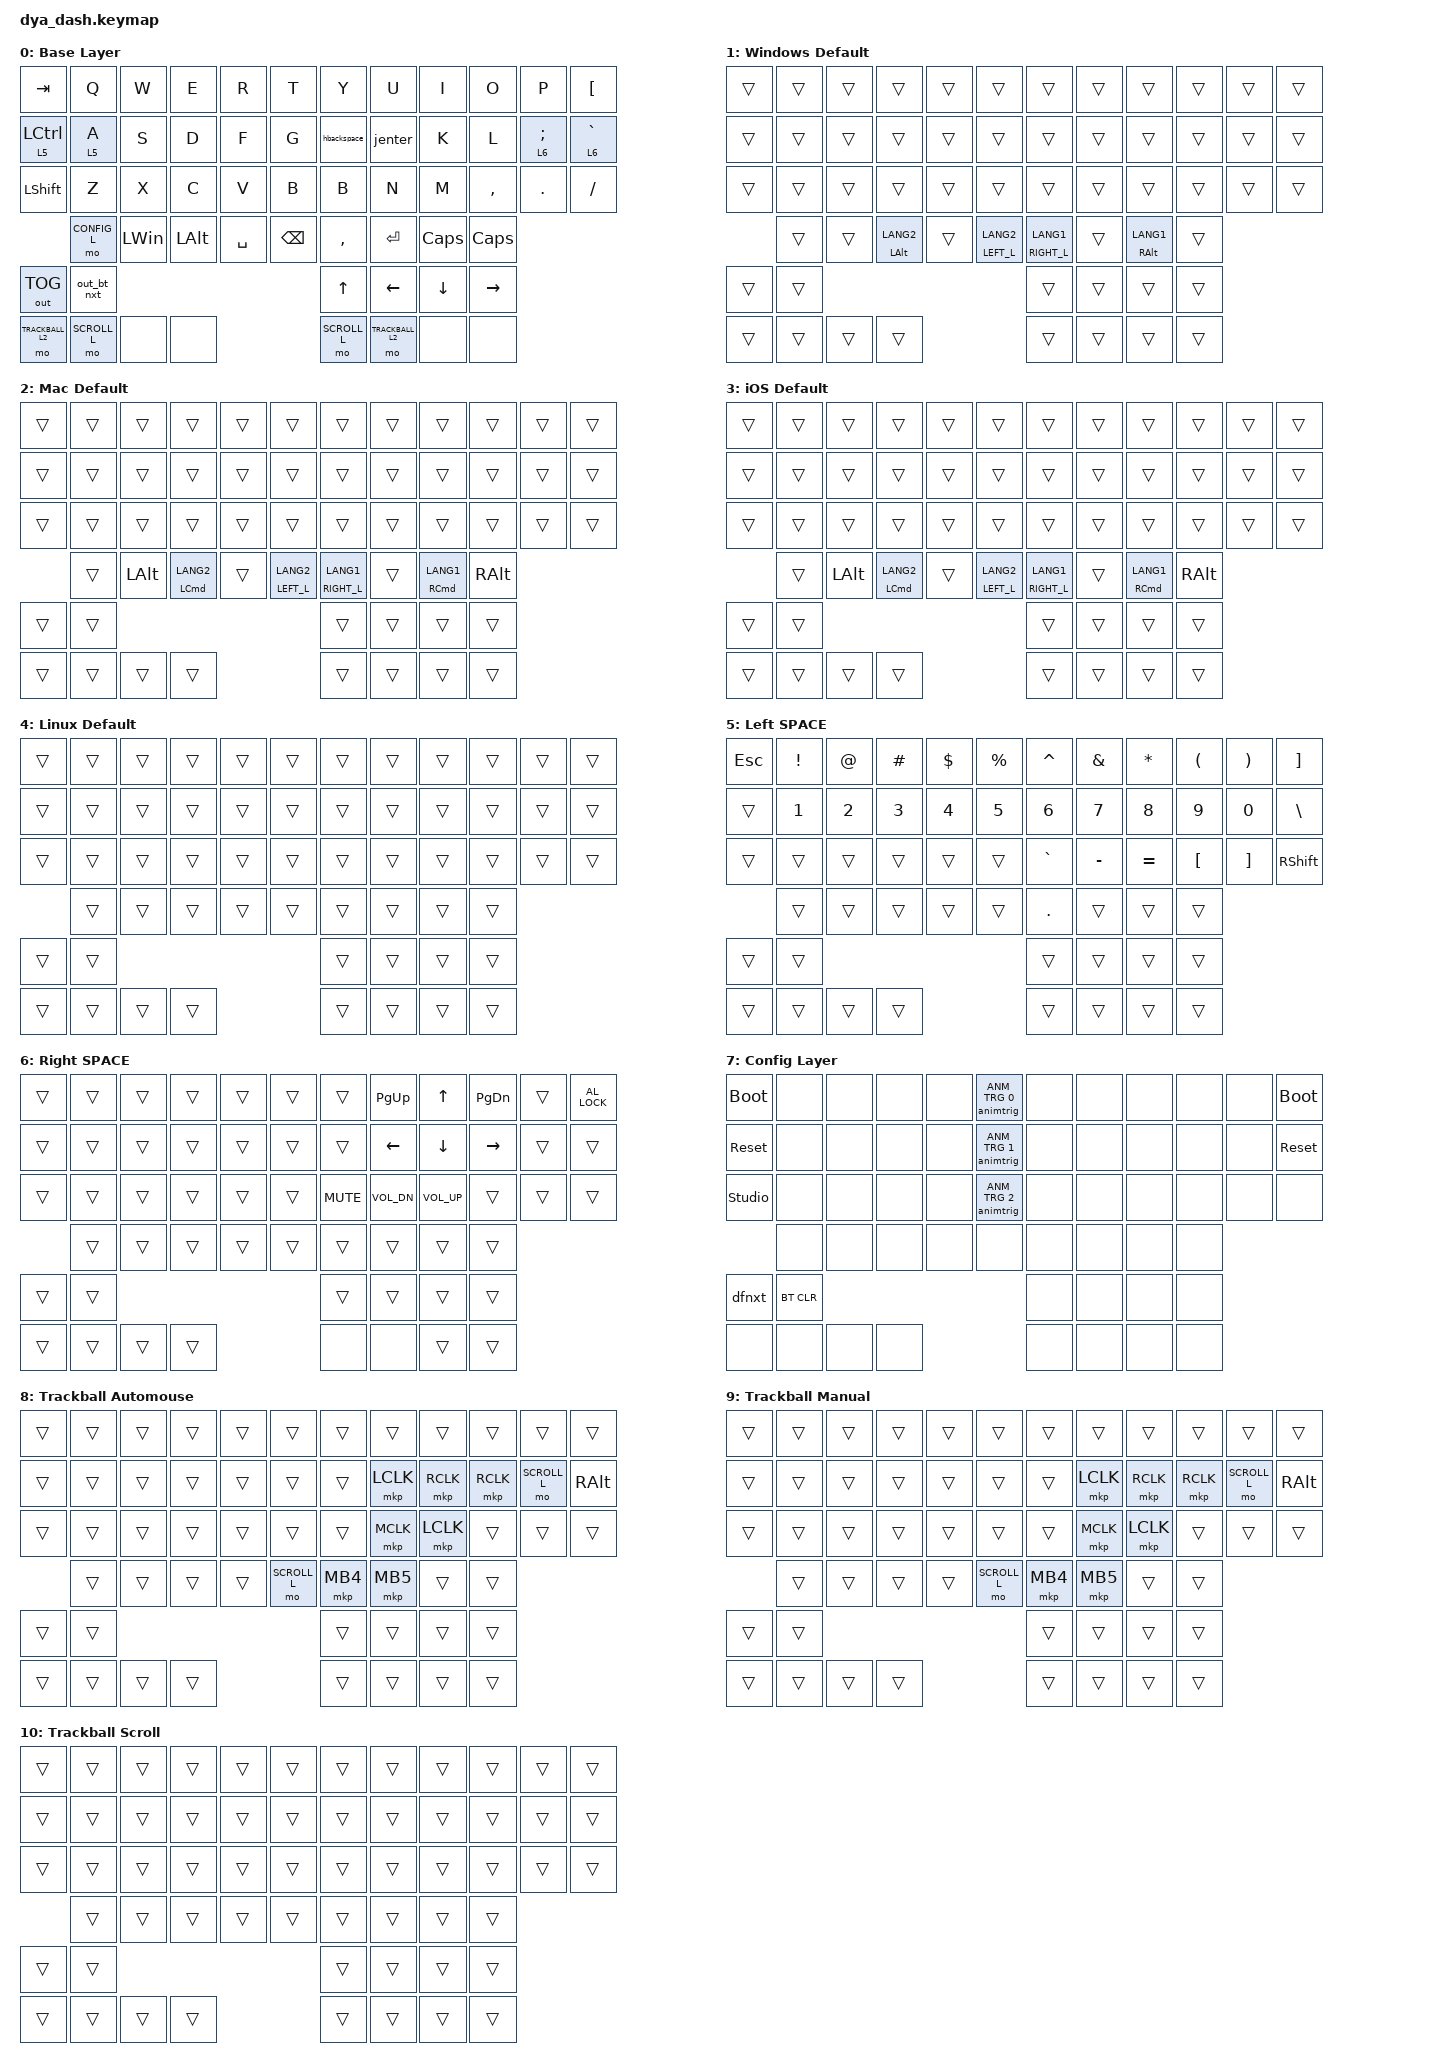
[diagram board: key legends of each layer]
#include <behaviors/mouse_move.dtsi>
#include <behaviors/animation_control.dtsi>
#include <behaviors/animation_trigger.dtsi>
#include <dt-bindings/zmk/mouse.h>
#include <dt-bindings/zmk_driver_animation/animation_control.h>
#include <dt-bindings/zmk_driver_animation/animation_trigger.h>
#include <dt-bindings/zmk_behavior_default_layer/default_layer.h>
#include <behaviors.dtsi>
#include <dt-bindings/zmk/bt.h>
#include <dt-bindings/zmk/keys.h>
#include <dt-bindings/zmk/outputs.h>
#include <dt-bindings/zmk/pointing.h>

// Layer definitions

#define DEFAULT_L 0
#define WINDOWS_L 1
#define MAC_L 2
#define IOS_L 3
#define LINUX_L 4
#define LEFT_L 5
#define RIGHT_L 6
#define CONFIG_L 7
#define TRACKBALL_L 8
#define TRACKBALL_L2 9
#define SCROLL_L 10
#define EXT1_L 11
#define EXT2_L 12
#define EXT3_L 13

&trackball_listener {
    input-processors = <
    // TRACKBALL_L layer is activated when trackball is used.
    // After 500ms of trackball inactivity, the layer is deactivated.
    &zip_temp_layer TRACKBALL_L 500
    // Example: Adjust sensitivity of trackball multiply by 1 and divide by 60.
    // &zip_xy_scaler 1 60
    >;
};

&trackball_scroller {
    layers = <SCROLL_L>;

    // Example: adjust sensitivity of scroll multiply by 1 and divide by 60.
    // input-processors = <&zip_xy_scaler 1 60 &zip_xy_to_scroll_mapper>;
};

&trackball_listener_l { input-processors = <&zip_temp_layer TRACKBALL_L 500>; };

&trackball_scroller_l { layers = <SCROLL_L>; };

&zip_temp_layer { excluded-positions = <19 20 21 22 32 33 41 52 53 54 55 56 57 58 59>; };

&trackball_r { cpi = <600>; };

&trackball_l { cpi = <600>; };

/ {
    behaviors {
        // ctrl+h as backspace

        hbackspace: h_or_ctrl_backspace {
            compatible = "zmk,behavior-mod-morph";
            #binding-cells = <0>;
            bindings = <&kp H>, <&kp BACKSPACE>;

            mods = <(MOD_LCTL)>;
        };

        // ctrl+j as enter

        jenter: j_or_ctrl_enter {
            compatible = "zmk,behavior-mod-morph";
            #binding-cells = <0>;
            bindings = <&kp J>, <&kp ENTER>;

            mods = <(MOD_LCTL)>;
        };
    };

    macros {
        // Disconnect from all once for reliable connection to selected profile.
        // ZMK automatically reconnects to current profile right after disconnection.

        out_bt_nxt: out_bt_nxt {
            compatible = "zmk,behavior-macro";
            #binding-cells = <0>;
            wait-ms = <50>;
            bindings = <&out OUT_BLE &bt BT_NXT &bt BT_DISC 0 &bt BT_DISC 1 &bt BT_DISC 2 &bt BT_DISC 3 &bt BT_DISC 4>;
        };

        // Change default layer for current profile to next layer

        dfnxt: dfnxt {
            compatible = "zmk,behavior-macro";
            #binding-cells = <0>;
            bindings = <&df DF_INC &animtrig ANM_TRG 2>;
        };
    };

    combos {
        compatible = "zmk,combos";

        // Right side's setting button shares input pin with arrow keys.
        // It works as a combo of two arrow keys.

        setting_r1 {
            timeout-ms = <10>;
            key-positions = <47 50>;
            bindings = <&kp C_VOL_DN>;
        };

        setting_r2 {
            timeout-ms = <10>;
            key-positions = <47 49>;
            bindings = <&kp C_VOL_UP>;
        };
    };

    keymap {
        compatible = "zmk,keymap";

        // template {
        //     bindings = <
        //         &trans      &trans      &trans      &trans      &trans      &trans      /**/ &trans      &trans      &trans      &trans      &trans      &trans
        //         &trans      &trans      &trans      &trans      &trans      &trans      /**/ &trans      &trans      &trans      &trans      &trans      &trans
        //         &trans      &trans      &trans      &trans      &trans      &trans      /**/ &trans      &trans      &trans      &trans      &trans      &trans
        //                     &trans      &trans      &trans      &trans      &trans      /**/ &trans      &trans      &trans      &trans
        //
        //         &trans      &trans                                                      /**/ &trans      &trans      &trans      &trans
        //         &trans      &trans      &trans      &trans                              /**/ &trans      &trans      &trans      &trans
        //     >;
        // };

        default_layer {
            display-name = "Base Layer";

            // --------------------------------------------------------------------------------------------------------------------------------------------------
            // |   TAB   |    Q    |    W    |    E    |    R    |    T       |            |    Y        |    U    |    I     |    O    |    P    |    [    |
            // |   CTRL  |    A    |    S    |    D    |    F    |    G       |            |    H        |    J    |    K     |    L    |    ;    |    '    |
            // |  SHIFT  |    Z    |    X    |    C    |    V    |    B       |            |    B        |    N    |    M     |    ,    |    .    |    /    |
            //           |  CONFIG |   WIN   |   ALT   |  SPACE  | LEFT_LAYER |            | RIGHT_LAYER |  SPACE  |   ALT    |   WIN   |
            // --------------------------------------------------------------------------------------------------------------------------------------------------
            // | BLE     |  USB    |                                                       |  left   | up      | down    | right   |
            // | touch1  | touch2  | touch3  | touch 4 |                                   | touch1  | touch2  | touch3  | touch 4 |

            bindings = <
&kp TAB             &kp Q         &kp W     &kp E     &kp R      &kp T          &kp Y         &kp U             &kp I         &kp O         &kp P            &kp LBKT
&lt 5 LEFT_CONTROL  &lt 5 A       &kp S     &kp D     &kp F      &kp G          &hbackspace   &jenter           &kp K         &kp L         &lt 6 SEMICOLON  &lt 6 GRAVE
&kp LSHIFT          &kp Z         &kp X     &kp C     &kp V      &kp B          &kp B         &kp N             &kp M         &kp COMMA     &kp DOT          &kp FSLH
                    &mo CONFIG_L  &kp LWIN  &kp LALT  &kp SPACE  &kp BACKSPACE  &kp COMMA     &kp ENTER         &kp CAPSLOCK  &kp CAPSLOCK
&out OUT_TOG        &out_bt_nxt                                                 &kp UP        &kp LEFT          &kp DOWN      &kp RIGHT
&mo TRACKBALL_L2    &mo SCROLL_L  &none     &none                               &mo SCROLL_L  &mo TRACKBALL_L2  &none         &none
            >;
        };

        windows_default_layer {
            display-name = "Windows Default";
            bindings = <
&trans  &trans  &trans  &trans          &trans  &trans            &trans             &trans  &trans          &trans  &trans  &trans
&trans  &trans  &trans  &trans          &trans  &trans            &trans             &trans  &trans          &trans  &trans  &trans
&trans  &trans  &trans  &trans          &trans  &trans            &trans             &trans  &trans          &trans  &trans  &trans
        &trans  &trans  &mt LALT LANG2  &trans  &lt LEFT_L LANG2  &lt RIGHT_L LANG1  &trans  &mt RALT LANG1  &trans
&trans  &trans                                                    &trans             &trans  &trans          &trans
&trans  &trans  &trans  &trans                                    &trans             &trans  &trans          &trans
            >;
        };

        mac_default_layer {
            display-name = "Mac Default";
            bindings = <
&trans  &trans  &trans    &trans          &trans  &trans            &trans             &trans  &trans          &trans    &trans  &trans
&trans  &trans  &trans    &trans          &trans  &trans            &trans             &trans  &trans          &trans    &trans  &trans
&trans  &trans  &trans    &trans          &trans  &trans            &trans             &trans  &trans          &trans    &trans  &trans
        &trans  &kp LALT  &mt LCMD LANG2  &trans  &lt LEFT_L LANG2  &lt RIGHT_L LANG1  &trans  &mt RCMD LANG1  &kp RALT
&trans  &trans                                                      &trans             &trans  &trans          &trans
&trans  &trans  &trans    &trans                                    &trans             &trans  &trans          &trans
            >;
        };

        ios_default_layer {
            display-name = "iOS Default";
            bindings = <
&trans  &trans  &trans    &trans          &trans  &trans            &trans             &trans  &trans          &trans    &trans  &trans
&trans  &trans  &trans    &trans          &trans  &trans            &trans             &trans  &trans          &trans    &trans  &trans
&trans  &trans  &trans    &trans          &trans  &trans            &trans             &trans  &trans          &trans    &trans  &trans
        &trans  &kp LALT  &mt LCMD LANG2  &trans  &lt LEFT_L LANG2  &lt RIGHT_L LANG1  &trans  &mt RCMD LANG1  &kp RALT
&trans  &trans                                                      &trans             &trans  &trans          &trans
&trans  &trans  &trans    &trans                                    &trans             &trans  &trans          &trans
            >;
        };

        linux_default_layer {
            display-name = "Linux Default";
            bindings = <
&trans  &trans  &trans  &trans  &trans  &trans  &trans  &trans  &trans  &trans  &trans  &trans
&trans  &trans  &trans  &trans  &trans  &trans  &trans  &trans  &trans  &trans  &trans  &trans
&trans  &trans  &trans  &trans  &trans  &trans  &trans  &trans  &trans  &trans  &trans  &trans
        &trans  &trans  &trans  &trans  &trans  &trans  &trans  &trans  &trans
&trans  &trans                                  &trans  &trans  &trans  &trans
&trans  &trans  &trans  &trans                  &trans  &trans  &trans  &trans
            >;
        };

        left_layer {
            display-name = "Left SPACE";

            // --------------------------------------------------------------------------------------------------------------------------------------------------------------------
            // |  ESC    |  !  |  @  |  #       |  $  |  %       |                           |  ^  |  &      |  *      |  (  |  )  |  ]  |
            // |         |  1  |  2  |  3       |  4  |  5       |                           |  6  |  7      |  8      |  9  |  0  |  \  |
            // |         |     |     |          |     |          |                           |  `  |  -      |  =      |  [  |  ]  |SHIFT|
            //           |     |     |          |     |          |                           |     |         |         |     |

            bindings = <
&kp ESC  &kp EXCL  &kp AT  &kp HASH  &kp DLLR  &kp PRCNT  &kp CARET   &kp AMPS   &kp ASTRK  &kp LPAR  &kp RPAR  &kp RBKT
&trans   &kp N1    &kp N2  &kp N3    &kp N4    &kp N5     &kp N6      &kp N7     &kp N8     &kp N9    &kp N0    &kp BACKSLASH
&trans   &trans    &trans  &trans    &trans    &trans     &kp GRAVE   &kp MINUS  &kp EQUAL  &kp LBKT  &kp RBKT  &kp RSHIFT
         &trans    &trans  &trans    &trans    &trans     &kp PERIOD  &trans     &trans     &trans
&trans   &trans                                           &trans      &trans     &trans     &trans
&trans   &trans    &trans  &trans                         &trans      &trans     &trans     &trans
            >;
        };

        right_layer {
            display-name = "Right SPACE";
            bindings = <
&trans  &trans  &trans  &trans  &trans  &trans  &trans      &kp PG_UP     &kp UP        &kp PG_DN  &trans  &kp C_AL_LOCK
&trans  &trans  &trans  &trans  &trans  &trans  &trans      &kp LEFT      &kp DOWN      &kp RIGHT  &trans  &trans
&trans  &trans  &trans  &trans  &trans  &trans  &kp C_MUTE  &kp C_VOL_DN  &kp C_VOL_UP  &trans     &trans  &trans
        &trans  &trans  &trans  &trans  &trans  &trans      &trans        &trans        &trans
&trans  &trans                                  &trans      &trans        &trans        &trans
&trans  &trans  &trans  &trans                  &none       &none         &trans        &trans
            >;
        };

        config_layer {
            display-name = "Config Layer";
            bindings = <
&bootloader     &none       &none  &none  &none  &animtrig ANM_TRG 0  &none  &none  &none  &none  &none  &bootloader
&sys_reset      &none       &none  &none  &none  &animtrig ANM_TRG 1  &none  &none  &none  &none  &none  &sys_reset
&studio_unlock  &none       &none  &none  &none  &animtrig ANM_TRG 2  &none  &none  &none  &none  &none  &none
                &none       &none  &none  &none  &none                &none  &none  &none  &none
&dfnxt          &bt BT_CLR                                            &none  &none  &none  &none
&none           &none       &none  &none                              &none  &none  &none  &none
            >;
        };

        trackball_layer {
            display-name = "Trackball Automouse";
            bindings = <
&trans  &trans  &trans  &trans  &trans  &trans        &trans    &trans     &trans     &trans     &trans        &trans
&trans  &trans  &trans  &trans  &trans  &trans        &trans    &mkp LCLK  &mkp RCLK  &mkp RCLK  &mo SCROLL_L  &kp RALT
&trans  &trans  &trans  &trans  &trans  &trans        &trans    &mkp MCLK  &mkp LCLK  &trans     &trans        &trans
        &trans  &trans  &trans  &trans  &mo SCROLL_L  &mkp MB4  &mkp MB5   &trans     &trans
&trans  &trans                                        &trans    &trans     &trans     &trans
&trans  &trans  &trans  &trans                        &trans    &trans     &trans     &trans
            >;
        };

        trackball_layer2 {
            display-name = "Trackball Manual";
            bindings = <
&trans  &trans  &trans  &trans  &trans  &trans        &trans    &trans     &trans     &trans     &trans        &trans
&trans  &trans  &trans  &trans  &trans  &trans        &trans    &mkp LCLK  &mkp RCLK  &mkp RCLK  &mo SCROLL_L  &kp RALT
&trans  &trans  &trans  &trans  &trans  &trans        &trans    &mkp MCLK  &mkp LCLK  &trans     &trans        &trans
        &trans  &trans  &trans  &trans  &mo SCROLL_L  &mkp MB4  &mkp MB5   &trans     &trans
&trans  &trans                                        &trans    &trans     &trans     &trans
&trans  &trans  &trans  &trans                        &trans    &trans     &trans     &trans
            >;
        };

        scroll_layer {
            display-name = "Trackball Scroll";
            bindings = <
&trans  &trans  &trans  &trans  &trans  &trans  &trans  &trans  &trans  &trans  &trans  &trans
&trans  &trans  &trans  &trans  &trans  &trans  &trans  &trans  &trans  &trans  &trans  &trans
&trans  &trans  &trans  &trans  &trans  &trans  &trans  &trans  &trans  &trans  &trans  &trans
        &trans  &trans  &trans  &trans  &trans  &trans  &trans  &trans  &trans
&trans  &trans                                  &trans  &trans  &trans  &trans
&trans  &trans  &trans  &trans                  &trans  &trans  &trans  &trans
            >;
        };

        extra1 { status = "reserved"; };

        extra2 { status = "reserved"; };

        extra3 { status = "reserved"; };
    };
};
